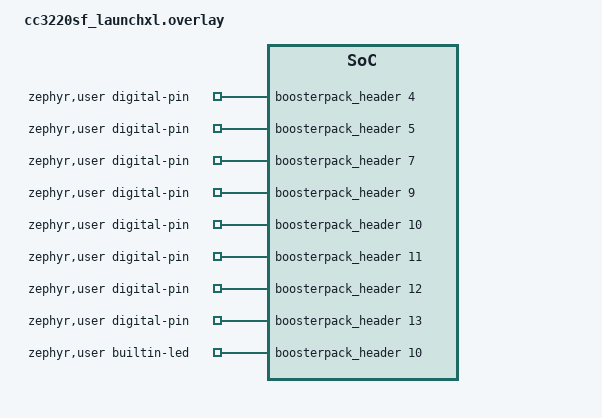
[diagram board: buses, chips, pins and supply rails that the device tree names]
/*
 * Copyright (c) 2023 Dhruva Gole <goledhruva@gmail.com>
 *
 * SPDX-License-Identifier: Apache-2.0
 */

 / {
	zephyr,user {
		digital-pin-gpios = <&boosterpack_header 4 0>,	/* GPIO_12 */
				<&boosterpack_header 5 0>,	/* GPIO_06 */
				<&boosterpack_header 7 0>,	/* GPIO_14 */
				<&boosterpack_header 9 0>,	/* I2C_SCL | YELLOW_LED */
				<&boosterpack_header 10 0>,	/* I2C_SDA | GREEN_LED  */
				<&boosterpack_header 11 0>,	/* GPIO_22 */
				<&boosterpack_header 12 0>,	/* GPIO_01 */
				<&boosterpack_header 13 0>,	/* GPIO_25 */
				<&boosterpack_header 14 0>,	/* GPIO_15 */
				<&boosterpack_header 15 0>,	/* GPIO_16 */
				<&boosterpack_header 17 0>,	/* GPIO_31 */
				<&boosterpack_header 18 0>,	/* GPIO_17 */
				<&boosterpack_header 19 0>,	/* GPIO_28 */
				<&boosterpack_header 23 0>,	/* GPIO_02 | AIN0 */
				<&boosterpack_header 24 0>,	/* GPIO_05 | AIN3 */
				<&boosterpack_header 25 0>,	/* GPIO_03 | AIN1 */
				<&boosterpack_header 26 0>,	/* GPIO_04 | AIN2 */
				<&boosterpack_header 27 0>,	/* GPIO_08 */
				<&boosterpack_header 28 0>,	/* GPIO_30 */
				<&boosterpack_header 29 0>,	/* GPIO_09 | RED_LED | I2S_DOUT*/
				<&boosterpack_header 30 0>,	/* GPIO_00 */
				<&boosterpack_header 31 0>,	/* GPIO_24 */
				<&boosterpack_header 32 0>;	/* GPIO_23 */
		builtin-led-gpios = <&boosterpack_header 10 0>;	/*  GREEN_LED  */
		serials = <&boosterpack_serial>;
		i2cs = <&boosterpack_i2c>;
	};
 };
